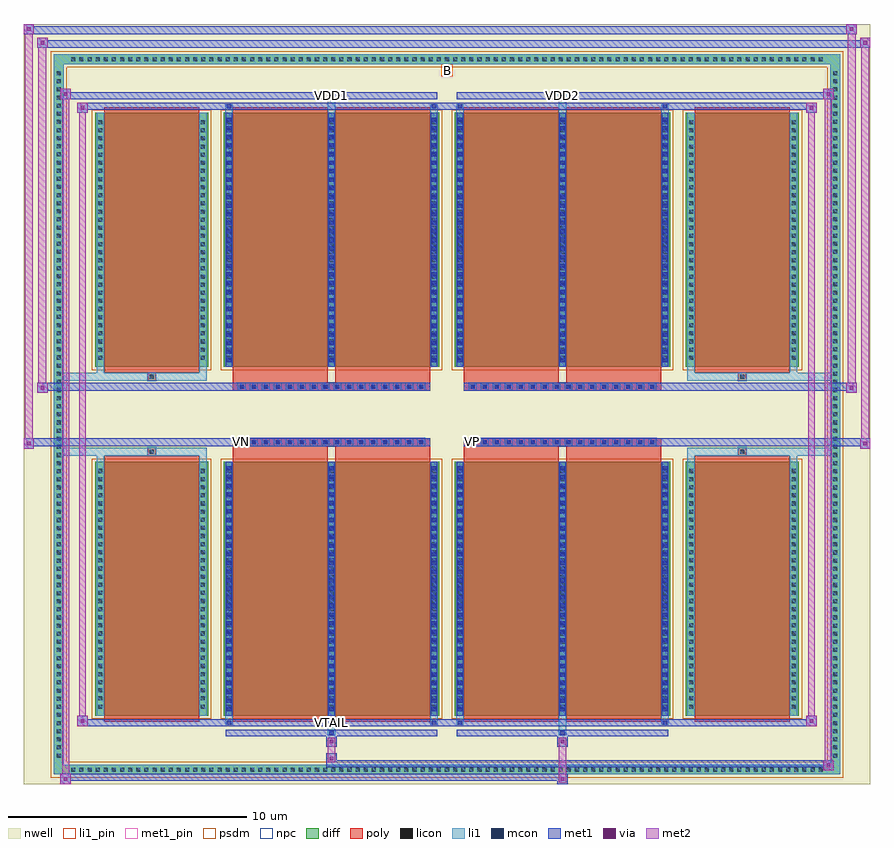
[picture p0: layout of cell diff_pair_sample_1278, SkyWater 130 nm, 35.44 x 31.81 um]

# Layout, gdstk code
import gdstk
lib = gdstk.Library(unit=1e-6, precision=5e-09)
def R(c, l, rs):  # rectangles x0, y0, x1, y1
    for r in rs: c.add(gdstk.rectangle(r[:2], r[2:], *l))
def A(c, l, x, y, w, h, nx, ny, dx, dy):  # array of equal rectangles
    R(c, l, [(x+i*dx, y+j*dy, x+i*dx+w, y+j*dy+h) for i in range(nx) for j in range(ny)])
def P(c, l, *ps):  # polygons
    for p in ps: c.add(gdstk.Polygon(p, *l))
nwell = (64, 20)
diff = (65, 20)
poly = (66, 20)
licon = (66, 44)
li1_pin = (67, 16)
li1 = (67, 20)
mcon = (67, 44)
met1_pin = (68, 16)
met1 = (68, 20)
via = (68, 44)
met2 = (69, 20)
psdm = (94, 20)
npc = (95, 20)

diff_pair_sample_1278 = lib.new_cell('diff_pair_sample_1278')
R(diff_pair_sample_1278, nwell, [(-17.72,-15.47,17.72,16.34), (-15.04,-13.66,-0.01,-0.8), (0.01,-13.66,15.04,-0.8), (-15.04,0.8,-0.01,13.66), (0.01,0.8,15.04,13.66)])
A(diff_pair_sample_1278, diff, -15.845, -15.07, 0.41, 0.41, 93, 2, 0.34, 29.73)
A(diff_pair_sample_1278, diff, -16.45, -14.485, 0.41, 0.41, 1, 85, 0, 0.34)
A(diff_pair_sample_1278, diff, 16.04, -14.485, 0.41, 0.41, 1, 85, 0, 0.34)
R(diff_pair_sample_1278, diff, [(-15.845,-15.07,15.845,-14.66), (-16.45,-14.485,-16.04,14.485), (16.04,-14.485,16.45,14.485), (-14.73,-12.615,-9.99,-1.985), (-9.35,-12.615,-0.32,-1.985), (0.32,-12.615,9.35,-1.985), (9.99,-12.615,14.73,-1.985), (-14.73,1.985,-9.99,12.615), (-9.35,1.985,-0.32,12.615), (0.32,1.985,9.35,12.615), (9.99,1.985,14.73,12.615), (-15.845,14.66,15.845,15.07)])
P(diff_pair_sample_1278, diff, [(16.45,15.07),(-16.45,15.07),(-16.45,-14.66),(-16.04,-14.66),(-16.04,14.66),(16.04,14.66),(16.04,-14.66),(-16.04,-14.66),(-16.45,-14.66),(-16.45,-15.07),(16.45,-15.07)])
A(diff_pair_sample_1278, poly, -8.75, -1.33, 0.33, 0.33, 16, 2, 0.5, 2.33)
A(diff_pair_sample_1278, poly, 0.92, -1.33, 0.33, 0.33, 16, 2, 0.5, 2.33)
R(diff_pair_sample_1278, poly, [(-14.34,-12.865,-10.38,-1.735), (-8.96,-12.865,-5,-1.735), (-4.67,-12.865,-0.71,-1.735), (0.71,-12.865,4.67,-1.735), (5,-12.865,8.96,-1.735), (10.38,-12.865,14.34,-1.735), (-12.525,-1.735,-12.195,-1.405), (-12.525,-1.735,-12.195,-1.405), (-8.96,-1.735,-5,-1.33), (-4.67,-1.735,-0.71,-1.33), (0.71,-1.735,4.67,-1.33), (5,-1.735,8.96,-1.33), (12.195,-1.735,12.525,-1.405), (12.195,-1.735,12.525,-1.405), (-8.96,-1.33,-0.71,-1), (0.71,-1.33,8.96,-1), (-8.96,1,-0.71,1.33), (0.71,1,8.96,1.33), (-8.96,1.33,-5,1.735), (-4.67,1.33,-0.71,1.735), (0.71,1.33,4.67,1.735), (5,1.33,8.96,1.735), (-12.525,1.405,-12.195,1.735), (-12.525,1.405,-12.195,1.735), (12.195,1.405,12.525,1.735), (12.195,1.405,12.525,1.735), (-14.34,1.735,-10.38,12.865), (-8.96,1.735,-5,12.865), (-4.67,1.735,-0.71,12.865), (0.71,1.735,4.67,12.865), (5,1.735,8.96,12.865), (10.38,1.735,14.34,12.865)])
A(diff_pair_sample_1278, licon, -15.725, -14.95, 0.17, 0.17, 93, 2, 0.34, 29.73)
A(diff_pair_sample_1278, licon, -16.33, -14.365, 0.17, 0.17, 1, 85, 0, 0.34)
A(diff_pair_sample_1278, licon, 16.16, -14.365, 0.17, 0.17, 1, 85, 0, 0.34)
A(diff_pair_sample_1278, licon, -14.59, -12.315, 0.17, 0.17, 1, 30, 0, 0.34)
A(diff_pair_sample_1278, licon, -10.3, -12.315, 0.17, 0.17, 1, 30, 0, 0.34)
A(diff_pair_sample_1278, licon, -9.21, -12.315, 0.17, 0.17, 3, 30, 4.29, 0.34)
A(diff_pair_sample_1278, licon, 0.46, -12.315, 0.17, 0.17, 3, 30, 4.29, 0.34)
A(diff_pair_sample_1278, licon, 10.13, -12.315, 0.17, 0.17, 1, 30, 0, 0.34)
A(diff_pair_sample_1278, licon, 14.42, -12.315, 0.17, 0.17, 1, 30, 0, 0.34)
A(diff_pair_sample_1278, licon, -8.67, -1.25, 0.17, 0.17, 16, 2, 0.5, 2.33)
A(diff_pair_sample_1278, licon, 1, -1.25, 0.17, 0.17, 16, 2, 0.5, 2.33)
A(diff_pair_sample_1278, licon, -14.59, 2.285, 0.17, 0.17, 1, 30, 0, 0.34)
A(diff_pair_sample_1278, licon, -10.3, 2.285, 0.17, 0.17, 1, 30, 0, 0.34)
A(diff_pair_sample_1278, licon, -9.21, 2.285, 0.17, 0.17, 3, 30, 4.29, 0.34)
A(diff_pair_sample_1278, licon, 0.46, 2.285, 0.17, 0.17, 3, 30, 4.29, 0.34)
A(diff_pair_sample_1278, licon, 10.13, 2.285, 0.17, 0.17, 1, 30, 0, 0.34)
A(diff_pair_sample_1278, licon, 14.42, 2.285, 0.17, 0.17, 1, 30, 0, 0.34)
R(diff_pair_sample_1278, licon, [(-12.445,-1.655,-12.275,-1.485), (12.275,-1.655,12.445,-1.485), (-12.445,1.485,-12.275,1.655), (12.275,1.485,12.445,1.655)])
R(diff_pair_sample_1278, li1_pin, [(-0.25,14.16,0.25,14.66)])
A(diff_pair_sample_1278, li1, -15.805, -15.03, 0.33, 0.33, 93, 2, 0.34, 29.73)
A(diff_pair_sample_1278, li1, -16.41, -14.445, 0.33, 0.33, 1, 85, 0, 0.34)
A(diff_pair_sample_1278, li1, 16.08, -14.445, 0.33, 0.33, 1, 85, 0, 0.34)
A(diff_pair_sample_1278, li1, -9.29, -12.615, 0.33, 10.63, 3, 2, 4.29, 14.6)
A(diff_pair_sample_1278, li1, 0.38, -12.615, 0.33, 10.63, 3, 2, 4.29, 14.6)
A(diff_pair_sample_1278, li1, -9.21, -12.425, 0.17, 0.17, 3, 29, 4.29, 0.36)
A(diff_pair_sample_1278, li1, -9.21, -12.425, 0.17, 10.25, 3, 2, 4.29, 14.6)
A(diff_pair_sample_1278, li1, 0.46, -12.425, 0.17, 0.17, 3, 29, 4.29, 0.36)
A(diff_pair_sample_1278, li1, 0.46, -12.425, 0.17, 10.25, 3, 2, 4.29, 14.6)
A(diff_pair_sample_1278, li1, -14.67, -12.395, 0.33, 0.33, 1, 30, 0, 0.34)
A(diff_pair_sample_1278, li1, -10.38, -12.395, 0.33, 0.33, 1, 30, 0, 0.34)
A(diff_pair_sample_1278, li1, -9.29, -12.395, 0.33, 0.33, 3, 30, 4.29, 0.34)
A(diff_pair_sample_1278, li1, 0.38, -12.395, 0.33, 0.33, 3, 30, 4.29, 0.34)
A(diff_pair_sample_1278, li1, 10.05, -12.395, 0.33, 0.33, 1, 30, 0, 0.34)
A(diff_pair_sample_1278, li1, 14.34, -12.395, 0.33, 0.33, 1, 30, 0, 0.34)
A(diff_pair_sample_1278, li1, -8.75, -1.33, 0.33, 0.33, 16, 2, 0.5, 2.33)
A(diff_pair_sample_1278, li1, 0.92, -1.33, 0.33, 0.33, 16, 2, 0.5, 2.33)
A(diff_pair_sample_1278, li1, -9.21, 2.175, 0.17, 0.17, 3, 29, 4.29, 0.36)
A(diff_pair_sample_1278, li1, 0.46, 2.175, 0.17, 0.17, 3, 29, 4.29, 0.36)
A(diff_pair_sample_1278, li1, -14.67, 2.205, 0.33, 0.33, 1, 30, 0, 0.34)
A(diff_pair_sample_1278, li1, -10.38, 2.205, 0.33, 0.33, 1, 30, 0, 0.34)
A(diff_pair_sample_1278, li1, -9.29, 2.205, 0.33, 0.33, 3, 30, 4.29, 0.34)
A(diff_pair_sample_1278, li1, 0.38, 2.205, 0.33, 0.33, 3, 30, 4.29, 0.34)
A(diff_pair_sample_1278, li1, 10.05, 2.205, 0.33, 0.33, 1, 30, 0, 0.34)
A(diff_pair_sample_1278, li1, 14.34, 2.205, 0.33, 0.33, 1, 30, 0, 0.34)
R(diff_pair_sample_1278, li1, [(-16.45,-15.07,-16.04,-14.66), (-16.45,-15.07,-16.04,-14.66), (-16.04,-15.07,16.04,-14.66), (16.04,-15.07,16.45,-14.66), (16.04,-15.07,16.45,-14.66), (-16.45,-14.66,-16.04,14.66), (16.04,-14.66,16.45,14.66), (-5,-13.42,-4.67,-12.615), (-4.92,-13.42,-4.75,-13.25), (4.67,-13.42,5,-12.615), (4.75,-13.42,4.92,-13.25), (-9.29,-12.99,-8.96,-12.615), (-9.21,-12.99,-9.04,-12.82), (-0.71,-12.99,-0.38,-12.615), (-0.63,-12.99,-0.46,-12.82), (0.38,-12.99,0.71,-12.615), (0.46,-12.99,0.63,-12.82), (8.96,-12.99,9.29,-12.615), (9.04,-12.99,9.21,-12.82), (-14.67,-12.615,-14.34,-1.985), (-10.38,-12.615,-10.05,-1.985), (10.05,-12.615,10.38,-1.985), (14.34,-12.615,14.67,-1.985), (-14.67,-1.985,-14.34,-1.405), (-10.38,-1.985,-10.05,-1.405), (10.05,-1.985,10.38,-1.405), (14.34,-1.985,14.67,-1.405), (-16.45,-1.735,-12.525,-1.405), (-14.67,-1.735,-12.525,-1.405), (-12.525,-1.735,-12.195,-1.405), (-12.195,-1.735,-10.05,-1.405), (10.05,-1.735,12.195,-1.405), (12.195,-1.735,12.525,-1.405), (12.195,-1.735,16.45,-1.405), (12.525,-1.735,14.67,-1.405), (-16.45,1.405,-12.525,1.735), (-14.67,1.405,-12.525,1.735), (-14.67,1.405,-14.34,1.985), (-12.525,1.405,-12.195,1.735), (-12.195,1.405,-10.05,1.735), (-10.38,1.405,-10.05,1.985), (10.05,1.405,12.195,1.735), (10.05,1.405,10.38,1.985), (12.195,1.405,12.525,1.735), (12.195,1.405,16.45,1.735), (12.525,1.405,14.67,1.735), (14.34,1.405,14.67,1.985), (-14.67,1.985,-14.34,12.615), (-10.38,1.985,-10.05,12.615), (10.05,1.985,10.38,12.615), (14.34,1.985,14.67,12.615), (-9.29,12.615,-8.96,12.99), (-5,12.615,-4.67,13.42), (-0.71,12.615,-0.38,12.99), (0.38,12.615,0.71,12.99), (4.67,12.615,5,13.42), (8.96,12.615,9.29,12.99), (-9.21,12.82,-9.04,12.99), (-0.63,12.82,-0.46,12.99), (0.46,12.82,0.63,12.99), (9.04,12.82,9.21,12.99), (-4.92,13.25,-4.75,13.42), (4.75,13.25,4.92,13.42), (-16.45,14.66,-16.04,15.07), (-16.45,14.66,-16.04,15.07), (-16.04,14.66,16.04,15.07), (16.04,14.66,16.45,15.07), (16.04,14.66,16.45,15.07)])
A(diff_pair_sample_1278, mcon, -9.21, -12.425, 0.17, 0.17, 3, 29, 4.29, 0.36)
A(diff_pair_sample_1278, mcon, 0.46, -12.425, 0.17, 0.17, 3, 29, 4.29, 0.36)
A(diff_pair_sample_1278, mcon, -8.67, -1.25, 0.17, 0.17, 16, 2, 0.5, 2.33)
A(diff_pair_sample_1278, mcon, 1, -1.25, 0.17, 0.17, 16, 2, 0.5, 2.33)
A(diff_pair_sample_1278, mcon, -9.21, 2.175, 0.17, 0.17, 3, 29, 4.29, 0.36)
A(diff_pair_sample_1278, mcon, 0.46, 2.175, 0.17, 0.17, 3, 29, 4.29, 0.36)
R(diff_pair_sample_1278, mcon, [(-4.92,-13.42,-4.75,-13.25), (4.75,-13.42,4.92,-13.25), (-9.21,-12.99,-9.04,-12.82), (-0.63,-12.99,-0.46,-12.82), (0.46,-12.99,0.63,-12.82), (9.04,-12.99,9.21,-12.82), (-9.21,12.82,-9.04,12.99), (-0.63,12.82,-0.46,12.99), (0.46,12.82,0.63,12.99), (9.04,12.82,9.21,12.99), (-4.92,13.25,-4.75,13.42), (4.75,13.25,4.92,13.42)])
R(diff_pair_sample_1278, met1_pin, [(-4.97,-13.03,-4.7,-12.76), (-8.72,-1.29,-8.45,-1.02), (0.95,-1.29,1.22,-1.02), (-4.97,13.21,-4.7,13.48), (4.7,13.21,4.97,13.48)])
A(diff_pair_sample_1278, met1, -9.27, -12.615, 0.29, 10.63, 3, 2, 4.29, 14.6)
A(diff_pair_sample_1278, met1, 0.4, -12.615, 0.29, 10.63, 3, 2, 4.29, 14.6)
A(diff_pair_sample_1278, met1, -9.27, -12.485, 0.29, 0.29, 3, 29, 4.29, 0.36)
A(diff_pair_sample_1278, met1, 0.4, -12.485, 0.29, 0.29, 3, 29, 4.29, 0.36)
A(diff_pair_sample_1278, met1, -8.73, -1.31, 0.29, 0.29, 16, 2, 0.5, 2.33)
A(diff_pair_sample_1278, met1, 0.94, -1.31, 0.29, 0.29, 16, 2, 0.5, 2.33)
A(diff_pair_sample_1278, met1, -9.27, 2.115, 0.29, 0.29, 3, 29, 4.29, 0.36)
A(diff_pair_sample_1278, met1, 0.4, 2.115, 0.29, 0.29, 3, 29, 4.29, 0.36)
R(diff_pair_sample_1278, met1, [(-16.18,-15.47,-15.75,-15.04), (4.62,-15.47,5.05,-15.04), (-16.18,-15.33,5.05,-15.04), (15.75,-14.9,16.18,-14.47), (-5.05,-14.76,16.18,-14.47), (-5.05,-14.62,-4.62,-14.19), (-5.05,-13.91,-4.62,-13.48), (4.62,-13.91,5.05,-13.48), (-9.27,-13.48,-0.4,-13.19), (-4.98,-13.48,-4.69,-13.19), (0.4,-13.48,9.27,-13.19), (4.69,-13.48,4.98,-13.19), (-15.47,-13.05,-15.04,-12.62), (-15.47,-13.05,-9.27,-12.76), (-9.27,-13.05,-8.98,-12.76), (-9.27,-13.05,-0.4,-12.76), (-0.69,-13.05,-0.4,-12.76), (-0.4,-13.05,0.4,-12.76), (0.4,-13.05,0.69,-12.76), (0.4,-13.05,9.27,-12.76), (8.98,-13.05,9.27,-12.76), (9.27,-13.05,15.47,-12.76), (15.04,-13.05,15.47,-12.62), (-17.72,-1.43,-17.29,-1), (17.29,-1.43,17.72,-1), (-17.72,-1.33,-0.71,-1), (-8.96,-1.33,-0.71,-1), (0.71,-1.33,8.96,-1), (0.71,-1.33,17.72,-1), (-17.15,0.9,-16.72,1.33), (16.72,0.9,17.15,1.33), (-17.15,1,-8.96,1.33), (-8.96,1,-0.71,1.33), (0.71,1,8.96,1.33), (8.96,1,17.15,1.33), (-15.47,12.62,-15.04,13.05), (15.04,12.62,15.47,13.05), (-15.47,12.76,-9.27,13.05), (-9.27,12.76,-8.98,13.05), (-9.27,12.76,-0.4,13.05), (-0.69,12.76,-0.4,13.05), (-0.4,12.76,0.4,13.05), (0.4,12.76,0.69,13.05), (0.4,12.76,9.27,13.05), (8.98,12.76,9.27,13.05), (9.27,12.76,15.47,13.05), (-16.18,13.19,-15.75,13.62), (-16.18,13.19,-9.27,13.48), (-9.27,13.19,-0.4,13.48), (-4.98,13.19,-4.69,13.48), (0.4,13.19,9.27,13.48), (4.69,13.19,4.98,13.48), (9.27,13.19,16.18,13.48), (15.75,13.19,16.18,13.62), (-17.15,15.34,-16.72,15.77), (-17.15,15.34,-15.04,15.67), (-15.04,15.34,15.04,15.67), (15.04,15.34,17.72,15.67), (17.29,15.34,17.72,15.77), (-17.72,15.91,-17.29,16.34), (-17.72,15.91,-15.04,16.24), (-15.04,15.91,15.04,16.24), (15.04,15.91,17.15,16.24), (16.72,15.91,17.15,16.34)])
R(diff_pair_sample_1278, via, [(-16.04,-15.33,-15.89,-15.18), (4.76,-15.33,4.91,-15.18), (15.89,-14.76,16.04,-14.61), (-4.91,-14.48,-4.76,-14.33), (-4.91,-13.77,-4.76,-13.62), (4.76,-13.77,4.91,-13.62), (-15.33,-12.91,-15.18,-12.76), (15.18,-12.91,15.33,-12.76), (-17.58,-1.29,-17.43,-1.14), (17.43,-1.29,17.58,-1.14), (-17.01,1.04,-16.86,1.19), (16.86,1.04,17.01,1.19), (-15.33,12.76,-15.18,12.91), (15.18,12.76,15.33,12.91), (-16.04,13.33,-15.89,13.48), (15.89,13.33,16.04,13.48), (-17.01,15.48,-16.86,15.63), (17.43,15.48,17.58,15.63), (-17.58,16.05,-17.43,16.2), (16.86,16.05,17.01,16.2)])
R(diff_pair_sample_1278, met2, [(-16.18,-15.47,-15.75,-15.04), (-16.11,-15.47,-15.82,13.62), (-15.82,-15.47,-15.75,-15.04), (-16.13,-15.42,-15.8,-15.09), (4.67,-15.42,5,-15.09), (4.67,-15.09,5,-13.86), (15.75,-14.9,16.18,-14.47), (15.82,-14.9,16.11,13.62), (16.11,-14.9,16.18,-14.47), (15.8,-14.85,16.13,-14.52), (-5,-14.57,-4.67,-14.24), (-5,-14.24,-4.67,-13.86), (-5,-13.86,-4.67,-13.53), (4.67,-13.86,5,-13.53), (-15.47,-13.05,-15.04,-12.62), (-15.4,-13.05,-15.11,13.05), (-15.11,-13.05,-15.04,-12.62), (15.04,-13.05,15.47,-12.62), (15.11,-13.05,15.4,13.05), (15.4,-13.05,15.47,-12.62), (-15.42,-13,-15.09,-12.67), (15.09,-13,15.42,-12.67), (-17.72,-1.43,-17.29,-1), (-17.67,-1.43,-17.34,16.34), (-17.34,-1.43,-17.29,-1), (17.29,-1.43,17.72,-1), (17.34,-1.43,17.67,15.77), (17.67,-1.43,17.72,-1), (-17.67,-1.38,-17.34,-1.05), (17.34,-1.38,17.67,-1.05), (-17.15,0.9,-16.72,1.33), (-17.1,0.9,-16.77,15.77), (-16.77,0.9,-16.72,1.33), (16.72,0.9,17.15,1.33), (16.77,0.9,17.1,16.34), (17.1,0.9,17.15,1.33), (-17.1,0.95,-16.77,1.28), (16.77,0.95,17.1,1.28), (-15.47,12.62,-15.04,13.05), (-15.11,12.62,-15.04,13.05), (15.04,12.62,15.47,13.05), (15.4,12.62,15.47,13.05), (-15.42,12.67,-15.09,13), (15.09,12.67,15.42,13), (-16.18,13.19,-15.75,13.62), (-15.82,13.19,-15.75,13.62), (15.75,13.19,16.18,13.62), (16.11,13.19,16.18,13.62), (-16.13,13.24,-15.8,13.57), (15.8,13.24,16.13,13.57), (-17.15,15.34,-16.72,15.77), (-16.77,15.34,-16.72,15.77), (17.29,15.34,17.72,15.77), (17.67,15.34,17.72,15.77), (-17.1,15.39,-16.77,15.72), (17.34,15.39,17.67,15.72), (-17.72,15.91,-17.29,16.34), (-17.34,15.91,-17.29,16.34), (16.72,15.91,17.15,16.34), (17.1,15.91,17.15,16.34), (-17.67,15.96,-17.34,16.29), (16.77,15.96,17.1,16.29)])
R(diff_pair_sample_1278, psdm, [(-14.86,-12.745,-9.86,-1.855), (-9.48,-12.745,-0.19,-1.855), (0.19,-12.745,9.48,-1.855), (9.86,-12.745,14.86,-1.855), (-14.86,1.855,-9.86,12.745), (-9.48,1.855,-0.19,12.745), (0.19,1.855,9.48,12.745), (9.86,1.855,14.86,12.745)])
P(diff_pair_sample_1278, psdm, [(16.58,15.2),(-16.58,15.2),(-16.58,-14.53),(-15.91,-14.53),(-15.91,14.53),(15.91,14.53),(15.91,-14.53),(-15.91,-14.53),(-16.58,-14.53),(-16.58,-15.2),(16.58,-15.2)])
A(diff_pair_sample_1278, npc, -8.77, -1.35, 0.37, 0.37, 16, 2, 0.5, 2.33)
A(diff_pair_sample_1278, npc, 0.9, -1.35, 0.37, 0.37, 16, 2, 0.5, 2.33)
R(diff_pair_sample_1278, npc, [(-12.545,-1.755,-12.175,-1.385), (12.175,-1.755,12.545,-1.385), (-8.77,-1.35,-7.9,-0.98), (-8.77,-1.35,-7.9,-0.98), (-8.27,-1.35,-7.4,-0.98), (-8.27,-1.35,-7.4,-0.98), (-7.77,-1.35,-6.9,-0.98), (-7.77,-1.35,-6.9,-0.98), (-7.27,-1.35,-6.4,-0.98), (-7.27,-1.35,-6.4,-0.98), (-6.77,-1.35,-5.9,-0.98), (-6.77,-1.35,-5.9,-0.98), (-6.27,-1.35,-5.4,-0.98), (-6.27,-1.35,-5.4,-0.98), (-5.77,-1.35,-4.9,-0.98), (-5.77,-1.35,-4.9,-0.98), (-5.27,-1.35,-4.4,-0.98), (-5.27,-1.35,-4.4,-0.98), (-4.77,-1.35,-3.9,-0.98), (-4.77,-1.35,-3.9,-0.98), (-4.27,-1.35,-3.4,-0.98), (-4.27,-1.35,-3.4,-0.98), (-3.77,-1.35,-2.9,-0.98), (-3.77,-1.35,-2.9,-0.98), (-3.27,-1.35,-2.4,-0.98), (-3.27,-1.35,-2.4,-0.98), (-2.77,-1.35,-1.9,-0.98), (-2.77,-1.35,-1.9,-0.98), (-2.27,-1.35,-1.4,-0.98), (-2.27,-1.35,-1.4,-0.98), (-1.77,-1.35,-0.9,-0.98), (-1.77,-1.35,-0.9,-0.98), (0.9,-1.35,1.77,-0.98), (0.9,-1.35,1.77,-0.98), (1.4,-1.35,2.27,-0.98), (1.4,-1.35,2.27,-0.98), (1.9,-1.35,2.77,-0.98), (1.9,-1.35,2.77,-0.98), (2.4,-1.35,3.27,-0.98), (2.4,-1.35,3.27,-0.98), (2.9,-1.35,3.77,-0.98), (2.9,-1.35,3.77,-0.98), (3.4,-1.35,4.27,-0.98), (3.4,-1.35,4.27,-0.98), (3.9,-1.35,4.77,-0.98), (3.9,-1.35,4.77,-0.98), (4.4,-1.35,5.27,-0.98), (4.4,-1.35,5.27,-0.98), (4.9,-1.35,5.77,-0.98), (4.9,-1.35,5.77,-0.98), (5.4,-1.35,6.27,-0.98), (5.4,-1.35,6.27,-0.98), (5.9,-1.35,6.77,-0.98), (5.9,-1.35,6.77,-0.98), (6.4,-1.35,7.27,-0.98), (6.4,-1.35,7.27,-0.98), (6.9,-1.35,7.77,-0.98), (6.9,-1.35,7.77,-0.98), (7.4,-1.35,8.27,-0.98), (7.4,-1.35,8.27,-0.98), (7.9,-1.35,8.77,-0.98), (7.9,-1.35,8.77,-0.98), (-8.77,0.98,-7.9,1.35), (-8.77,0.98,-7.9,1.35), (-8.27,0.98,-7.4,1.35), (-8.27,0.98,-7.4,1.35), (-7.77,0.98,-6.9,1.35), (-7.77,0.98,-6.9,1.35), (-7.27,0.98,-6.4,1.35), (-7.27,0.98,-6.4,1.35), (-6.77,0.98,-5.9,1.35), (-6.77,0.98,-5.9,1.35), (-6.27,0.98,-5.4,1.35), (-6.27,0.98,-5.4,1.35), (-5.77,0.98,-4.9,1.35), (-5.77,0.98,-4.9,1.35), (-5.27,0.98,-4.4,1.35), (-5.27,0.98,-4.4,1.35), (-4.77,0.98,-3.9,1.35), (-4.77,0.98,-3.9,1.35), (-4.27,0.98,-3.4,1.35), (-4.27,0.98,-3.4,1.35), (-3.77,0.98,-2.9,1.35), (-3.77,0.98,-2.9,1.35), (-3.27,0.98,-2.4,1.35), (-3.27,0.98,-2.4,1.35), (-2.77,0.98,-1.9,1.35), (-2.77,0.98,-1.9,1.35), (-2.27,0.98,-1.4,1.35), (-2.27,0.98,-1.4,1.35), (-1.77,0.98,-0.9,1.35), (-1.77,0.98,-0.9,1.35), (0.9,0.98,1.77,1.35), (0.9,0.98,1.77,1.35), (1.4,0.98,2.27,1.35), (1.4,0.98,2.27,1.35), (1.9,0.98,2.77,1.35), (1.9,0.98,2.77,1.35), (2.4,0.98,3.27,1.35), (2.4,0.98,3.27,1.35), (2.9,0.98,3.77,1.35), (2.9,0.98,3.77,1.35), (3.4,0.98,4.27,1.35), (3.4,0.98,4.27,1.35), (3.9,0.98,4.77,1.35), (3.9,0.98,4.77,1.35), (4.4,0.98,5.27,1.35), (4.4,0.98,5.27,1.35), (4.9,0.98,5.77,1.35), (4.9,0.98,5.77,1.35), (5.4,0.98,6.27,1.35), (5.4,0.98,6.27,1.35), (5.9,0.98,6.77,1.35), (5.9,0.98,6.77,1.35), (6.4,0.98,7.27,1.35), (6.4,0.98,7.27,1.35), (6.9,0.98,7.77,1.35), (6.9,0.98,7.77,1.35), (7.4,0.98,8.27,1.35), (7.4,0.98,8.27,1.35), (7.9,0.98,8.77,1.35), (7.9,0.98,8.77,1.35), (-12.545,1.385,-12.175,1.755), (12.175,1.385,12.545,1.755)])
diff_pair_sample_1278.add(gdstk.Label('VTAIL', (-4.835,-12.895), layer=68, texttype=5))
diff_pair_sample_1278.add(gdstk.Label('VN', (-8.585,-1.155), layer=68, texttype=5))
diff_pair_sample_1278.add(gdstk.Label('VP', (1.085,-1.155), layer=68, texttype=5))
diff_pair_sample_1278.add(gdstk.Label('B', (0,14.41), layer=67, texttype=5))
diff_pair_sample_1278.add(gdstk.Label('VDD2', (4.835,13.345), layer=68, texttype=5))
diff_pair_sample_1278.add(gdstk.Label('VDD1', (-4.835,13.345), layer=68, texttype=5))

lib.write_gds('diff_pair_sample_1278.gds')
